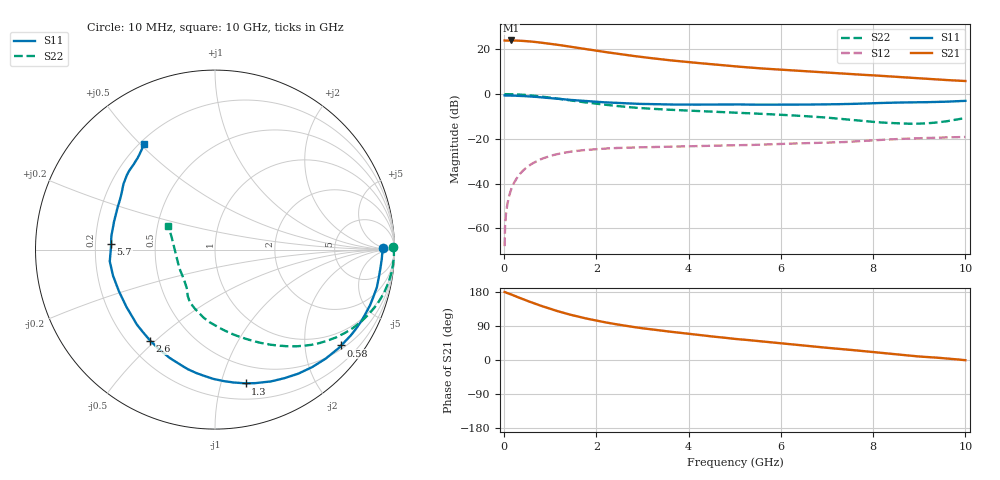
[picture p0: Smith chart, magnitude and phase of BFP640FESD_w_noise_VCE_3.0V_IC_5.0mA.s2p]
! Infineon Technologies  Discrete & RF Semiconductors
! BFP640FESD
! VCE =  3.0 V,  IC =  5.0 mA
! Common Emitter S-Parameters:  Jan 2016
# GHz  S  MA  R  50
!  f  S11  S21  S12  S22
! GHz  MAG  ANG  MAG  ANG  MAG  ANG  MAG  ANG
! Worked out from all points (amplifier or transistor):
!   233 points, 10 MHz to 10 GHz, reference 50 ohm
!   highest |S21| = 24.0 dB at 150 MHz (marker M1)
!   |S21| within 3 dB of that: start of sweep to 1.498 GHz
!   unconditionally stable (mu >= 1): 5.941 GHz to end of sweep
!   at 200 MHz: K = 0.03, MSG = 32.1 dB, |S12| = -40.3 dB
!   at 1.74 GHz: K = 0.29, MSG = 22.6 dB, |S12| = -25.0 dB
!   at 10 GHz: K = 1.21, MAG = 9.7 dB, |S12| = -19.2 dB
!   lowest NFmin = 0.54 dB at 450 MHz
!   S11 on the Smith chart (normalised r, x): 10 MHz: 30, +4; 580 MHz: 0.59, -2.86; 1.3 GHz: 0.33, -1.20; 2.6 GHz: 0.29, -0.48; 5.7 GHz: 0.27, +0.02; 10 GHz: 0.22, +0.51
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0.01  0.9374 0.5  15.81 179.3  0.0004 29.7  0.9909 0.7
0.02  0.932 -1.4  15.72 179.0  0.0011 83.6  0.9971 -0.8
0.05  0.9311 -3.0  15.7 177.4  0.0026 85.4  0.9974 -1.9
0.15  0.9256 -9.9  15.81 173.0  0.0073 83.9  0.9941 -5.9
0.34  0.9131 -22.2  15.6 163.9  0.0163 77.5  0.9757 -13.2
0.58  0.883 -37.2  14.95 152.6  0.0269 69.4  0.9336 -22.0
0.7  0.8656 -44.6  14.56 147.3  0.0316 65.6  0.908 -26.2
0.9  0.8326 -56.1  13.75 138.9  0.0385 59.7  0.8598 -32.7
1.1  0.7979 -67.0  12.91 131.1  0.0443 54.3  0.8081 -38.8
1.3  0.7647 -77.1  12.04 124.0  0.049 49.5  0.7575 -44.4
1.68  0.7087 -94.1  10.48 112.2  0.0554 42.2  0.6696 -53.5
1.92  0.6815 -103.3  9.603 105.9  0.0583 38.8  0.6237 -58.6
2.2  0.654 -112.8  8.697 99.2  0.0607 35.4  0.578 -64.0
2.6  0.6231 -125.4  7.606 90.9  0.0634 31.6  0.5234 -71.3
3  0.6033 -136.1  6.708 83.7  0.0649 28.9  0.4839 -77.7
3.4  0.5891 -144.9  5.998 77.7  0.066 27.5  0.4576 -82.5
4.3  0.5835 -162.1  4.854 65.1  0.0694 26.0  0.4138 -91.9
5.1  0.5873 -174.9  4.098 54.7  0.0719 25.4  0.3797 -100.5
5.7  0.5796 177.0  3.678 47.8  0.0751 26.1  0.3576 -105.8
6.8  0.5866 160.0  3.114 34.7  0.0811 25.5  0.3084 -118.6
8.4  0.6431 139.7  2.473 16.0  0.0977 25.5  0.2257 -149.1
10  0.7067 124.0  1.961 -0.5  0.1101 19.2  0.292 152.9
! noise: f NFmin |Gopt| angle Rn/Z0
0.45  0.54  0.48  8  0.13
2.4  0.7  0.27  57  0.12
5.5  0.99  0.39  149  0.08
10  1.84  0.51  -122  0.24
